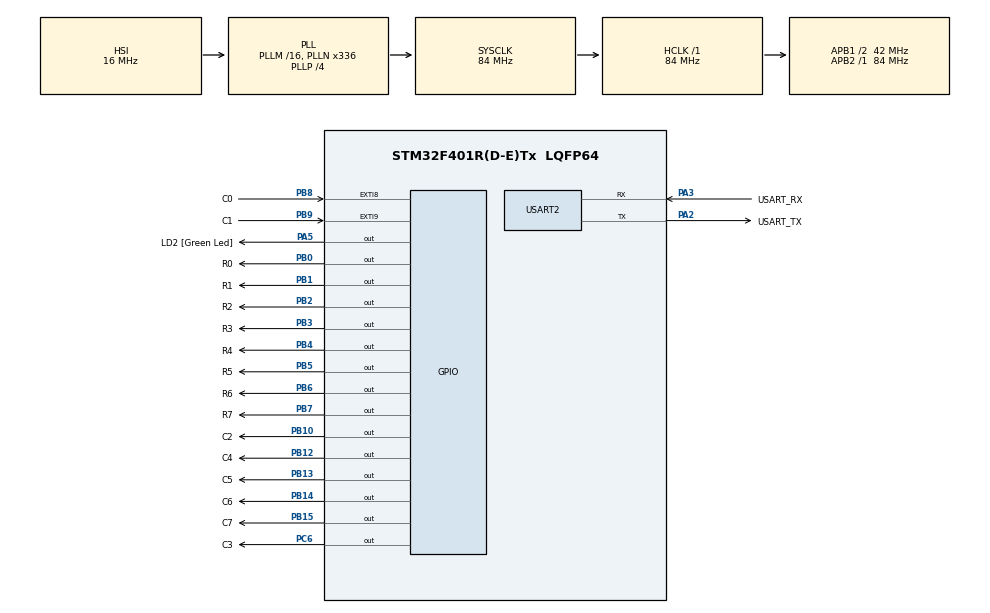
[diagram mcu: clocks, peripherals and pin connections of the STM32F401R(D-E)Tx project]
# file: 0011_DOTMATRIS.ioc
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Mcu.Family=STM32F4
Mcu.Name=STM32F401R(D-E)Tx
Mcu.Package=LQFP64
NVIC.PriorityGroup=NVIC_PRIORITYGROUP_0
PA13.GPIO_Label=TMS
PA13.Mode=Serial_Wire
PA13.Signal=SYS_JTMS-SWDIO
PA14.GPIO_Label=TCK
PA14.Mode=Serial_Wire
PA14.Signal=SYS_JTCK-SWCLK
PA2.GPIO_Label=USART_TX
PA2.GPIO_Mode=GPIO_MODE_AF_PP
PA2.GPIO_PuPd=GPIO_NOPULL
PA2.GPIO_Speed=GPIO_SPEED_FREQ_LOW
PA2.Mode=Asynchronous
PA2.Signal=USART2_TX
PA3.GPIO_Label=USART_RX
PA3.GPIO_Mode=GPIO_MODE_AF_PP
PA3.GPIO_PuPd=GPIO_NOPULL
PA3.GPIO_Speed=GPIO_SPEED_FREQ_LOW
PA3.Mode=Asynchronous
PA3.Signal=USART2_RX
PA5.GPIO_Label=LD2 [Green Led]
PA5.GPIO_Mode=GPIO_MODE_OUTPUT_PP
PA5.GPIO_PuPd=GPIO_NOPULL
PA5.GPIO_Speed=GPIO_SPEED_FREQ_LOW
PA5.Signal=GPIO_Output
PB0.GPIO_Label=R0
PB0.Signal=GPIO_Output
PB1.GPIO_Label=R1
PB1.Signal=GPIO_Output
PB10.GPIO_Label=C2
PB10.Signal=GPIO_Output
PB12.GPIO_Label=C4
PB12.Signal=GPIO_Output
PB13.GPIO_Label=C5
PB13.Signal=GPIO_Output
PB14.GPIO_Label=C6
PB14.Signal=GPIO_Output
PB15.GPIO_Label=C7
PB15.Signal=GPIO_Output
PB2.GPIO_Label=R2
PB2.Signal=GPIO_Output
PB3.GPIO_Label=R3
PB3.Signal=GPIO_Output
PB4.GPIO_Label=R4
PB4.Signal=GPIO_Output
PB5.GPIO_Label=R5
PB5.Signal=GPIO_Output
PB6.GPIO_Label=R6
PB6.Signal=GPIO_Output
PB7.GPIO_Label=R7
PB7.Signal=GPIO_Output
PB8.GPIO_Label=C0
PB8.Signal=GPXTI8
PB9.GPIO_Label=C1
PB9.Signal=GPXTI9
PC14-OSC32_IN.Mode=LSE-External-Oscillator
PC14-OSC32_IN.Signal=RCC_OSC32_IN
PC15-OSC32_OUT.Mode=LSE-External-Oscillator
PC15-OSC32_OUT.Signal=RCC_OSC32_OUT
PC6.GPIO_Label=C3
PC6.Signal=GPIO_Output
PH0\ -\ OSC_IN.Mode=HSE-External-Clock-Source
PH0\ -\ OSC_IN.Signal=RCC_OSC_IN
PH1\ -\ OSC_OUT.Mode=HSE-External-Clock-Source
PH1\ -\ OSC_OUT.Signal=RCC_OSC_OUT
ProjectManager.HeapSize=0x2000
ProjectManager.StackSize=0x4000
ProjectManager.TargetToolchain=MDK-ARM V5.32
RCC.48MHZClocksFreq_Value=48000000
RCC.AHBFreq_Value=84000000
RCC.APB1CLKDivider=RCC_HCLK_DIV2
RCC.APB1Freq_Value=42000000
RCC.APB1TimFreq_Value=84000000
RCC.APB2Freq_Value=84000000
RCC.APB2TimFreq_Value=84000000
RCC.CortexFreq_Value=84000000
RCC.HCLKFreq_Value=84000000
RCC.HSE_VALUE=8000000
RCC.HSI_VALUE=16000000
RCC.PLLN=336
RCC.PLLP=RCC_PLLP_DIV4
RCC.PLLQ=7
RCC.SYSCLKFreq_VALUE=84000000
RCC.SYSCLKSource=RCC_SYSCLKSOURCE_PLLCLK
RCC.VCOOutputFreq_Value=336000000
USART2.VirtualMode=VM_ASYNC
board=NUCLEO-F401RE

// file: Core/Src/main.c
/* USER CODE BEGIN Header */
/**
  ******************************************************************************
  * @file           : main.c
  * @brief          : Main program body
  ******************************************************************************
  * @attention
  *
  * Copyright (c) 2023 STMicroelectronics.
  * All rights reserved.
  *
  * This software is licensed under terms that can be found in the LICENSE file
  * in the root directory of this software component.
  * If no LICENSE file comes with this software, it is provided AS-IS.
  *
  ******************************************************************************
  */
/* USER CODE END Header */
#include "main.h"

UART_HandleTypeDef huart2;

void SystemClock_Config(void);
static void MX_GPIO_Init(void);
static void MX_USART2_UART_Init(void);

/* USER CODE BEGIN 0 */

typedef union
{
	uint8_t satir;
	struct
	{
		uint8_t r0;
		uint8_t r1;
		uint8_t r2;
		uint8_t r3;
		uint8_t r4;
		uint8_t r5;
		uint8_t r6;
		uint8_t r7;
	}row;
}linex_st;

typedef union
{
	uint8_t sutun;
	struct
	{
		uint8_t c0;
		uint8_t c1;
		uint8_t c2;
		uint8_t c3;
		uint8_t c4;
		uint8_t c5;
		uint8_t c6;
		uint8_t c7;
	}column;
}liney_st;

linex_st x_axis = { 0 };
liney_st y_axis = { 0 };

/* USER CODE END 0 */

int main(void)
{

  /* MCU Configuration--------------------------------------------------------*/

  /* Reset of all peripherals, Initializes the Flash interface and the Systick. */
  HAL_Init();

  /* Configure the system clock */
  SystemClock_Config();

  /* Initialize all configured peripherals */
  MX_GPIO_Init();
  MX_USART2_UART_Init();
  /* USER CODE BEGIN 2 */

	uint8_t loopVal = 0;

	uint16_t selectPins = 0;

  /* USER CODE END 2 */

  /* Infinite loop */
  while (1)
  {

    /* USER CODE BEGIN 3 */

		loopVal++ ;
		HAL_Delay(1000);
		if(loopVal >= 3 ) loopVal = 0;

		switch(loopVal)
		{
			case 0 :   // A HARFI
				x_axis.row.r0 = 0;	y_axis.column.c0 = 0;
				x_axis.row.r1 = 1;	y_axis.column.c1 = 0;
				x_axis.row.r2 = 0;	y_axis.column.c2 = 1;
				x_axis.row.r3 = 0;	y_axis.column.c3 = 0;
				x_axis.row.r4 = 1;	y_axis.column.c4 = 0;
				x_axis.row.r5 = 0;	y_axis.column.c5 = 0;
				x_axis.row.r6 = 0;	y_axis.column.c6 = 0;
				x_axis.row.r7 = 0;	y_axis.column.c7 = 0;
			break;

			case 1 :  // B BURAYA DUZGUNCE EKLENECEK !
				x_axis.row.r0 = 0;	y_axis.column.c0 = 0;
				x_axis.row.r1 = 1;	y_axis.column.c1 = 1;
				x_axis.row.r2 = 0;	y_axis.column.c2 = 0;
				x_axis.row.r3 = 1;	y_axis.column.c3 = 1;
				x_axis.row.r4 = 0;	y_axis.column.c4 = 0;
				x_axis.row.r5 = 1;	y_axis.column.c5 = 1;
				x_axis.row.r6 = 0;	y_axis.column.c6 = 0;
				x_axis.row.r7 = 1;	y_axis.column.c7 = 0;
			break;

			case 2 :  // C BURAYA DUZGUNCE EKLENECEK !
				x_axis.row.r0 = 1;	y_axis.column.c0 = 0;
				x_axis.row.r1 = 1;	y_axis.column.c1 = 0;
				x_axis.row.r2 = 0;	y_axis.column.c2 = 0;
				x_axis.row.r3 = 0;	y_axis.column.c3 = 1;
				x_axis.row.r4 = 0;	y_axis.column.c4 = 0;
				x_axis.row.r5 = 1;	y_axis.column.c5 = 0;
				x_axis.row.r6 = 1;	y_axis.column.c6 = 0;
				x_axis.row.r7 = 0;	y_axis.column.c7 = 1;
			break;

			case 3 : // D BURAYA DUZGUNCE EKLENECEK !
				x_axis.row.r0 = 0;	y_axis.column.c0 = 0;
				x_axis.row.r1 = 1;	y_axis.column.c1 = 0;
				x_axis.row.r2 = 1;	y_axis.column.c2 = 1;
				x_axis.row.r3 = 0;	y_axis.column.c3 = 0;
				x_axis.row.r4 = 1;	y_axis.column.c4 = 0;
				x_axis.row.r5 = 0;	y_axis.column.c5 = 1;
				x_axis.row.r6 = 0;	y_axis.column.c6 = 1;
				x_axis.row.r7 = 0;	y_axis.column.c7 = 0;
			break;

			default : loopVal=0;	 break;
		}

		selectPins = (uint16_t)x_axis.satir;
		HAL_GPIO_WritePin(GPIOB , selectPins , GPIO_PIN_SET );
		selectPins = 0;

		selectPins = (uint16_t)(y_axis.sutun << 8 );
		HAL_GPIO_WritePin(GPIOB , selectPins , GPIO_PIN_SET );

		//PB11 disariya verilmedigi icin pb11 set ise PC6 set edilecektir.
		if( ( selectPins & 0x0800 ) == 0x0800 ) // 0b0000100000000000
		{
			 HAL_GPIO_WritePin(GPIOC , GPIO_PIN_6 , GPIO_PIN_SET );
		}
		else
		{
			HAL_GPIO_WritePin(GPIOC , GPIO_PIN_6 , GPIO_PIN_RESET );
		}
		selectPins = 0;

  }
  /* USER CODE END 3 */
}

void SystemClock_Config(void)
{
  RCC_OscInitTypeDef RCC_OscInitStruct = {0};
  RCC_ClkInitTypeDef RCC_ClkInitStruct = {0};

  /** Configure the main internal regulator output voltage
  */
  __HAL_RCC_PWR_CLK_ENABLE();
  __HAL_PWR_VOLTAGESCALING_CONFIG(PWR_REGULATOR_VOLTAGE_SCALE2);

  /** Initializes the RCC Oscillators according to the specified parameters
  * in the RCC_OscInitTypeDef structure.
  */
  RCC_OscInitStruct.OscillatorType = RCC_OSCILLATORTYPE_HSI;
  RCC_OscInitStruct.HSIState = RCC_HSI_ON;
  RCC_OscInitStruct.HSICalibrationValue = RCC_HSICALIBRATION_DEFAULT;
  RCC_OscInitStruct.PLL.PLLState = RCC_PLL_ON;
  RCC_OscInitStruct.PLL.PLLSource = RCC_PLLSOURCE_HSI;
  RCC_OscInitStruct.PLL.PLLM = 16;
  RCC_OscInitStruct.PLL.PLLN = 336;
  RCC_OscInitStruct.PLL.PLLP = RCC_PLLP_DIV4;
  RCC_OscInitStruct.PLL.PLLQ = 7;
  if (HAL_RCC_OscConfig(&RCC_OscInitStruct) != HAL_OK)
  {
    Error_Handler();
  }

  /** Initializes the CPU, AHB and APB buses clocks
  */
  RCC_ClkInitStruct.ClockType = RCC_CLOCKTYPE_HCLK|RCC_CLOCKTYPE_SYSCLK
                              |RCC_CLOCKTYPE_PCLK1|RCC_CLOCKTYPE_PCLK2;
  RCC_ClkInitStruct.SYSCLKSource = RCC_SYSCLKSOURCE_PLLCLK;
  RCC_ClkInitStruct.AHBCLKDivider = RCC_SYSCLK_DIV1;
  RCC_ClkInitStruct.APB1CLKDivider = RCC_HCLK_DIV2;
  RCC_ClkInitStruct.APB2CLKDivider = RCC_HCLK_DIV1;

  if (HAL_RCC_ClockConfig(&RCC_ClkInitStruct, FLASH_LATENCY_2) != HAL_OK)
  {
    Error_Handler();
  }
}

static void MX_USART2_UART_Init(void)
{

  huart2.Instance = USART2;
  huart2.Init.BaudRate = 115200;
  huart2.Init.WordLength = UART_WORDLENGTH_8B;
  huart2.Init.StopBits = UART_STOPBITS_1;
  huart2.Init.Parity = UART_PARITY_NONE;
  huart2.Init.Mode = UART_MODE_TX_RX;
  huart2.Init.HwFlowCtl = UART_HWCONTROL_NONE;
  huart2.Init.OverSampling = UART_OVERSAMPLING_16;
  if (HAL_UART_Init(&huart2) != HAL_OK)
  {
    Error_Handler();
  }

}

static void MX_GPIO_Init(void)
{
  GPIO_InitTypeDef GPIO_InitStruct = {0};

  /* GPIO Ports Clock Enable */
  __HAL_RCC_GPIOC_CLK_ENABLE();
  __HAL_RCC_GPIOH_CLK_ENABLE();
  __HAL_RCC_GPIOA_CLK_ENABLE();
  __HAL_RCC_GPIOB_CLK_ENABLE();

  /*Configure GPIO pin Output Level */
  HAL_GPIO_WritePin(LD2_GPIO_Port, LD2_Pin, GPIO_PIN_RESET);

  /*Configure GPIO pin Output Level */
  HAL_GPIO_WritePin(GPIOB, R0_Pin|R1_Pin|R2_Pin|C2_Pin
                          |C4_Pin|C5_Pin|C6_Pin|C7_Pin
                          |R3_Pin|R4_Pin|R5_Pin|R6_Pin
                          |R7_Pin, GPIO_PIN_RESET);

  /*Configure GPIO pin Output Level */
  HAL_GPIO_WritePin(C3_GPIO_Port, C3_Pin, GPIO_PIN_RESET);

  /*Configure GPIO pin : LD2_Pin */
  GPIO_InitStruct.Pin = LD2_Pin;
  GPIO_InitStruct.Mode = GPIO_MODE_OUTPUT_PP;
  GPIO_InitStruct.Pull = GPIO_NOPULL;
  GPIO_InitStruct.Speed = GPIO_SPEED_FREQ_LOW;
  HAL_GPIO_Init(LD2_GPIO_Port, &GPIO_InitStruct);

  /*Configure GPIO pins : R0_Pin R1_Pin R2_Pin C2_Pin
                           C4_Pin C5_Pin C6_Pin C7_Pin
                           R3_Pin R4_Pin R5_Pin R6_Pin
                           R7_Pin */
  GPIO_InitStruct.Pin = R0_Pin|R1_Pin|R2_Pin|C2_Pin
                          |C4_Pin|C5_Pin|C6_Pin|C7_Pin
                          |R3_Pin|R4_Pin|R5_Pin|R6_Pin
                          |R7_Pin;
  GPIO_InitStruct.Mode = GPIO_MODE_OUTPUT_PP;
  GPIO_InitStruct.Pull = GPIO_NOPULL;
  GPIO_InitStruct.Speed = GPIO_SPEED_FREQ_LOW;
  HAL_GPIO_Init(GPIOB, &GPIO_InitStruct);

  /*Configure GPIO pin : C3_Pin */
  GPIO_InitStruct.Pin = C3_Pin;
  GPIO_InitStruct.Mode = GPIO_MODE_OUTPUT_PP;
  GPIO_InitStruct.Pull = GPIO_NOPULL;
  GPIO_InitStruct.Speed = GPIO_SPEED_FREQ_LOW;
  HAL_GPIO_Init(C3_GPIO_Port, &GPIO_InitStruct);

  /*Configure GPIO pins : C0_Pin C1_Pin */
  GPIO_InitStruct.Pin = C0_Pin|C1_Pin;
  GPIO_InitStruct.Mode = GPIO_MODE_IT_RISING;
  GPIO_InitStruct.Pull = GPIO_NOPULL;
  HAL_GPIO_Init(GPIOB, &GPIO_InitStruct);

}

void Error_Handler(void)
{
  __disable_irq();
  while (1)
  {
  }
}
